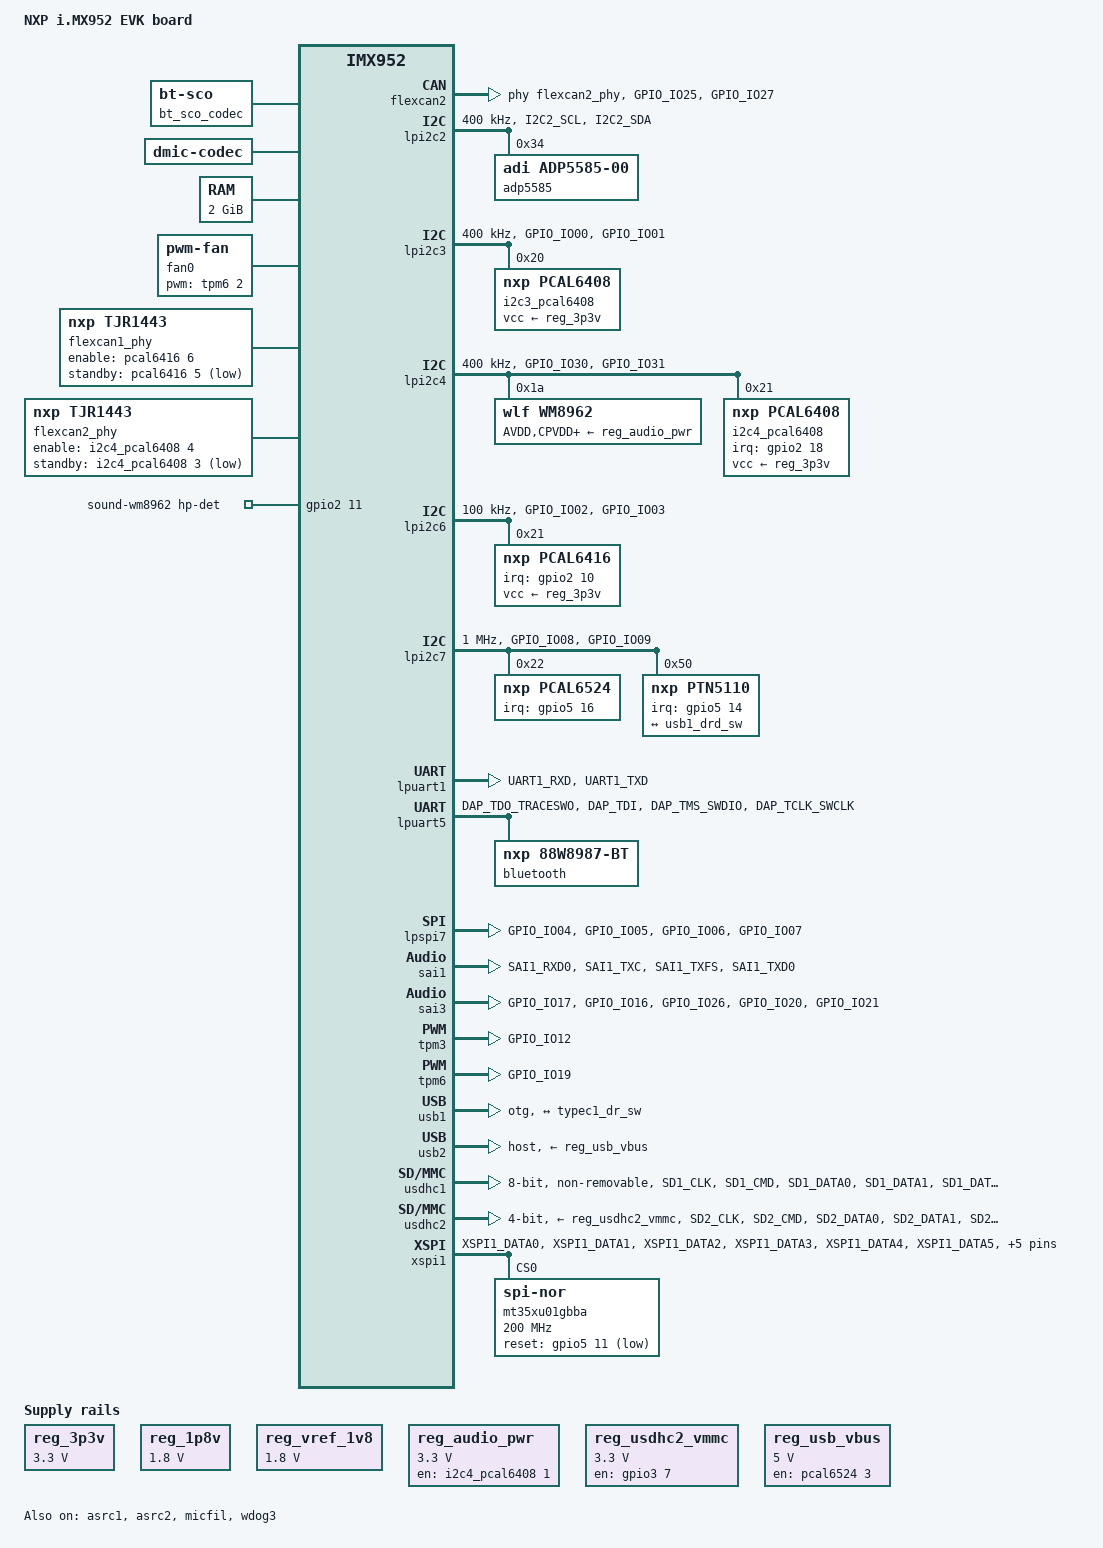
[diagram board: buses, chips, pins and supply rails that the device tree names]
// SPDX-License-Identifier: (GPL-2.0+ OR MIT)
/*
 * Copyright 2025-2026 NXP
 */

/dts-v1/;

#include <dt-bindings/pwm/pwm.h>
#include <dt-bindings/usb/pd.h>
#include "imx952.dtsi"

#define FALLING_EDGE		BIT(0)
#define RISING_EDGE		BIT(1)

#define BRD_SM_CTRL_SD3_WAKE		0x8000U /*!< PCAL6408A-0 */
#define BRD_SM_CTRL_M2E_WAKE		0x8001U /*!< PCAL6408A-4 */
#define BRD_SM_CTRL_BT_WAKE		0x8002U /*!< PCAL6408A-5 */
#define BRD_SM_CTRL_M2M_WAKE		0x8003U /*!< PCAL6408A-6 */
#define BRD_SM_CTRL_BUTTON		0x8004U /*!< PCAL6408A-7 */

/ {
	model = "NXP i.MX952 EVK board";
	compatible = "fsl,imx952-evk", "fsl,imx952";

	aliases {
		gpio0 = &gpio1;
		gpio1 = &gpio2;
		gpio2 = &gpio3;
		gpio3 = &gpio4;
		gpio4 = &gpio5;
		i2c0 = &lpi2c1;
		i2c1 = &lpi2c2;
		i2c2 = &lpi2c3;
		i2c3 = &lpi2c4;
		i2c4 = &lpi2c5;
		i2c5 = &lpi2c6;
		i2c6 = &lpi2c7;
		i2c7 = &lpi2c8;
		mmc0 = &usdhc1;
		mmc1 = &usdhc2;
		serial0 = &lpuart1;
		serial4 = &lpuart5;
		spi6 = &lpspi7;
	};

	bt_sco_codec: audio-codec-bt-sco {
		#sound-dai-cells = <1>;
		compatible = "linux,bt-sco";
	};

	chosen {
		stdout-path = &lpuart1;
	};

	dmic: dmic {
		compatible = "dmic-codec";
		#sound-dai-cells = <0>;
		num-channels = <2>;
	};

	memory@80000000 {
		device_type = "memory";
		reg = <0x0 0x80000000 0 0x80000000>;
	};

	fan0: pwm-fan {
		compatible = "pwm-fan";
		#cooling-cells = <2>;
		pwms = <&tpm6 2 4000000 PWM_POLARITY_INVERTED>;
		cooling-levels = <64 128 192 255>;
	};

	reserved-memory {
		#address-cells = <2>;
		#size-cells = <2>;
		ranges;

		linux_cma: linux,cma {
			compatible = "shared-dma-pool";
			alloc-ranges = <0 0x80000000 0 0x7f000000>;
			size = <0 0x3c000000>;
			linux,cma-default;
			reusable;
		};
	};

	flexcan1_phy: can-phy0 {
		compatible = "nxp,tjr1443";
		#phy-cells = <0>;
		max-bitrate = <8000000>;
		enable-gpios = <&pcal6416 6 GPIO_ACTIVE_HIGH>;
		standby-gpios = <&pcal6416 5 GPIO_ACTIVE_LOW>;
	};

	flexcan2_phy: can-phy1 {
		compatible = "nxp,tjr1443";
		#phy-cells = <0>;
		max-bitrate = <8000000>;
		enable-gpios = <&i2c4_pcal6408 4 GPIO_ACTIVE_HIGH>;
		standby-gpios = <&i2c4_pcal6408 3 GPIO_ACTIVE_LOW>;
	};

	reg_3p3v: regulator-3p3v {
		compatible = "regulator-fixed";
		regulator-max-microvolt = <3300000>;
		regulator-min-microvolt = <3300000>;
		regulator-name = "+V3.3_SW";
	};

	reg_1p8v: regulator-1p8v {
		compatible = "regulator-fixed";
		regulator-max-microvolt = <1800000>;
		regulator-min-microvolt = <1800000>;
		regulator-name = "+V1.8_SW";
	};

	reg_vref_1v8: regulator-adc-vref {
		compatible = "regulator-fixed";
		regulator-name = "vref_1v8";
		regulator-min-microvolt = <1800000>;
		regulator-max-microvolt = <1800000>;
	};

	reg_audio_pwr: regulator-audio-pwr {
		compatible = "regulator-fixed";
		regulator-name = "audio-pwr";
		regulator-max-microvolt = <3300000>;
		regulator-min-microvolt = <3300000>;
		gpio = <&i2c4_pcal6408 1 GPIO_ACTIVE_HIGH>;
		enable-active-high;
	};

	reg_usdhc2_vmmc: regulator-usdhc2 {
		compatible = "regulator-fixed";
		pinctrl-names = "default";
		pinctrl-0 = <&pinctrl_reg_usdhc2_vmmc>;
		regulator-name = "VDD_SD2_3V3";
		regulator-min-microvolt = <3300000>;
		regulator-max-microvolt = <3300000>;
		gpio = <&gpio3 7 GPIO_ACTIVE_HIGH>;
		enable-active-high;
		off-on-delay-us = <12000>;
	};

	reg_usb_vbus: regulator-vbus {
		compatible = "regulator-fixed";
		regulator-name = "USB_VBUS";
		regulator-min-microvolt = <5000000>;
		regulator-max-microvolt = <5000000>;
		gpio = <&pcal6524 3 GPIO_ACTIVE_HIGH>;
		enable-active-high;
	};

	sound-bt-sco {
		compatible = "simple-audio-card";
		simple-audio-card,bitclock-inversion;
		simple-audio-card,bitclock-master = <&btcpu>;
		simple-audio-card,format = "dsp_a";
		simple-audio-card,frame-master = <&btcpu>;
		simple-audio-card,name = "bt-sco-audio";

		simple-audio-card,codec {
			sound-dai = <&bt_sco_codec 1>;
		};

		btcpu: simple-audio-card,cpu {
			dai-tdm-slot-num = <2>;
			dai-tdm-slot-width = <16>;
			sound-dai = <&sai1>;
		};
	};

	sound-micfil {
		compatible = "fsl,imx-audio-card";
		model = "micfil-audio";

		pri-dai-link {
			format = "i2s";
			link-name = "micfil hifi";

			codec {
				sound-dai = <&dmic>;
			};

			cpu {
				sound-dai = <&micfil>;
			};
		};
	};

	sound-wm8962 {
		compatible = "fsl,imx-audio-wm8962";
		audio-asrc = <&asrc1>;
		audio-codec = <&wm8962>;
		audio-cpu = <&sai3>;
		audio-routing = "Headphone Jack", "HPOUTL",
				"Headphone Jack", "HPOUTR",
				"Ext Spk", "SPKOUTL",
				"Ext Spk", "SPKOUTR",
				"AMIC", "MICBIAS",
				"IN3R", "AMIC",
				"IN1R", "AMIC";
		hp-det-gpio = <&gpio2 11 GPIO_ACTIVE_HIGH>;
		model = "wm8962-audio";
		pinctrl-0 = <&pinctrl_hp>;
		pinctrl-names = "default";
	};
};

&asrc1 {
	assigned-clocks = <&scmi_clk IMX952_CLK_AUDIOPLL1_VCO>,
			  <&scmi_clk IMX952_CLK_AUDIOPLL2_VCO>,
			  <&scmi_clk IMX952_CLK_AUDIOPLL1>,
			  <&scmi_clk IMX952_CLK_AUDIOPLL2>,
			  <&scmi_clk IMX952_CLK_ASRC1>;
	assigned-clock-parents = <0>, <0>, <0>, <0>,
				 <&scmi_clk IMX952_CLK_AUDIOPLL1>;
	assigned-clock-rates = <3932160000>, <3612672000>,
			       <393216000>, <361267200>, <49152000>;
	fsl,asrc-rate  = <48000>;
	status = "okay";
};

&asrc2 {
	assigned-clocks = <&scmi_clk IMX952_CLK_AUDIOPLL1_VCO>,
			  <&scmi_clk IMX952_CLK_AUDIOPLL2_VCO>,
			  <&scmi_clk IMX952_CLK_AUDIOPLL1>,
			  <&scmi_clk IMX952_CLK_AUDIOPLL2>,
			  <&scmi_clk IMX952_CLK_ASRC2>;
	assigned-clock-parents = <0>, <0>, <0>, <0>,
				 <&scmi_clk IMX952_CLK_AUDIOPLL1>;
	assigned-clock-rates = <3932160000>, <3612672000>,
			       <393216000>, <361267200>, <49152000>;
	fsl,asrc-rate  = <48000>;
	status = "okay";
};

/* pin conflict with PDM */
&flexcan1 {
	pinctrl-names = "default";
	pinctrl-0 = <&pinctrl_flexcan1>;
	phys = <&flexcan1_phy>;
	status = "disabled";
};

&flexcan2 {
	pinctrl-names = "default";
	pinctrl-0 = <&pinctrl_flexcan2>;
	phys = <&flexcan2_phy>;
	status = "okay";
};

&lpi2c2 {
	clock-frequency = <400000>;
	pinctrl-names = "default";
	pinctrl-0 = <&pinctrl_lpi2c2>;
	status = "okay";

	adp5585: io-expander@34 {
		compatible = "adi,adp5585-00", "adi,adp5585";
		reg = <0x34>;
		gpio-controller;
		#gpio-cells = <2>;
		gpio-reserved-ranges = <5 1>;
		#pwm-cells = <3>;
	};
};

&lpi2c3 {
	clock-frequency = <400000>;
	pinctrl-names = "default";
	pinctrl-0 = <&pinctrl_lpi2c3>;
	status = "okay";

	i2c3_pcal6408: gpio@20 {
		compatible = "nxp,pcal6408";
		reg = <0x20>;
		#gpio-cells = <2>;
		gpio-controller;
		vcc-supply = <&reg_3p3v>;
	};
};

&lpi2c4 {
	clock-frequency = <400000>;
	pinctrl-names = "default";
	pinctrl-0 = <&pinctrl_lpi2c4>;
	status = "okay";

	wm8962: audio-codec@1a {
		compatible = "wlf,wm8962";
		reg = <0x1a>;
		clocks = <&scmi_clk IMX952_CLK_SAI3>;
		AVDD-supply = <&reg_audio_pwr>;
		CPVDD-supply = <&reg_audio_pwr>;
		DBVDD-supply = <&reg_audio_pwr>;
		DCVDD-supply = <&reg_audio_pwr>;
		gpio-cfg = < 0x0000 /* 0:Default */
			0x0000 /* 1:Default */
			0x0000 /* 2:FN_DMICCLK */
			0x0000 /* 3:Default */
			0x0000 /* 4:FN_DMICCDAT */
			0x0000 /* 5:Default */
			>;
		MICVDD-supply = <&reg_audio_pwr>;
		PLLVDD-supply = <&reg_audio_pwr>;
		SPKVDD1-supply = <&reg_audio_pwr>;
		SPKVDD2-supply = <&reg_audio_pwr>;
	};

	i2c4_pcal6408: gpio@21 {
		compatible = "nxp,pcal6408";
		reg = <0x21>;
		#gpio-cells = <2>;
		gpio-controller;
		interrupt-controller;
		#interrupt-cells = <2>;
		interrupt-parent = <&gpio2>;
		interrupts = <18 IRQ_TYPE_LEVEL_LOW>;
		pinctrl-names = "default";
		pinctrl-0 = <&pinctrl_i2c4_pcal6408>;
		vcc-supply = <&reg_3p3v>;
	};
};

&lpi2c6 {
	clock-frequency = <100000>;
	pinctrl-names = "default";
	pinctrl-0 = <&pinctrl_lpi2c6>;
	status = "okay";

	pcal6416: gpio@21 {
		compatible = "nxp,pcal6416";
		#gpio-cells = <2>;
		gpio-controller;
		reg = <0x21>;
		interrupt-controller;
		#interrupt-cells = <2>;
		interrupt-parent = <&gpio2>;
		interrupts = <10 IRQ_TYPE_LEVEL_LOW>;
		pinctrl-names = "default";
		pinctrl-0 = <&pinctrl_pcal6416>;
		vcc-supply = <&reg_3p3v>;

		pdm-can-sel-hog {
			gpio-hog;
			gpios = <10 GPIO_ACTIVE_HIGH>;
			output-low;
		};

		mqs-en-hog {
			gpio-hog;
			gpios = <15 GPIO_ACTIVE_HIGH>;
			output-low;
		};
	};
};

&lpi2c7 {
	clock-frequency = <1000000>;
	pinctrl-names = "default";
	pinctrl-0 = <&pinctrl_lpi2c7>;
	status = "okay";

	pcal6524: gpio@22 {
		compatible = "nxp,pcal6524";
		reg = <0x22>;
		pinctrl-names = "default";
		pinctrl-0 = <&pinctrl_pcal6524>;
		gpio-controller;
		#gpio-cells = <2>;
		interrupt-controller;
		#interrupt-cells = <2>;
		interrupt-parent = <&gpio5>;
		interrupts = <16 IRQ_TYPE_LEVEL_LOW>;
	};

	ptn5110: tcpc@50 {
		compatible = "nxp,ptn5110", "tcpci";
		reg = <0x50>;
		interrupt-parent = <&gpio5>;
		interrupts = <14 IRQ_TYPE_LEVEL_LOW>;
		pinctrl-names = "default";
		pinctrl-0 = <&pinctrl_ptn5110>;

		typec_con: connector {
			compatible = "usb-c-connector";
			label = "USB-C";
			power-role = "dual";
			data-role = "dual";
			try-power-role = "sink";
			source-pdos = <PDO_FIXED(5000, 3000, PDO_FIXED_USB_COMM)>;
			sink-pdos = <PDO_FIXED(5000, 0, PDO_FIXED_USB_COMM)>;
			op-sink-microwatt = <0>;
			self-powered;

			ports {
				#address-cells = <1>;
				#size-cells = <0>;

				port@0 {
					reg = <0>;

					typec1_dr_sw: endpoint {
						remote-endpoint = <&usb1_drd_sw>;
					};
				};
			};
		};
	};
};

&lpuart1 {
	/* console */
	pinctrl-names = "default";
	pinctrl-0 = <&pinctrl_uart1>;
	status = "okay";
};

&lpuart5 {
	/* BT */
	pinctrl-names = "default";
	pinctrl-0 = <&pinctrl_uart5>;
	status = "okay";

	bluetooth {
		compatible = "nxp,88w8987-bt";
	};
};

&lpspi7 {
	cs-gpios = <&gpio2 4 GPIO_ACTIVE_LOW>;
	pinctrl-names = "default";
	pinctrl-0 = <&pinctrl_lpspi7>;
	status = "okay";
};

&micfil {
	assigned-clocks = <&scmi_clk IMX952_CLK_AUDIOPLL1_VCO>,
			  <&scmi_clk IMX952_CLK_AUDIOPLL2_VCO>,
			  <&scmi_clk IMX952_CLK_AUDIOPLL1>,
			  <&scmi_clk IMX952_CLK_AUDIOPLL2>,
			  <&scmi_clk IMX952_CLK_PDM>;
	assigned-clock-parents = <0>, <0>, <0>, <0>,
				<&scmi_clk IMX952_CLK_AUDIOPLL1>;
	assigned-clock-rates = <3932160000>, <3612672000>,
			       <393216000>, <361267200>, <49152000>;
	pinctrl-0 = <&pinctrl_pdm>;
	pinctrl-1 = <&pinctrl_pdm_sleep>;
	pinctrl-names = "default", "sleep";
	status = "okay";
};

&sai1 {
	assigned-clocks = <&scmi_clk IMX952_CLK_AUDIOPLL1_VCO>,
			  <&scmi_clk IMX952_CLK_AUDIOPLL2_VCO>,
			  <&scmi_clk IMX952_CLK_AUDIOPLL1>,
			  <&scmi_clk IMX952_CLK_AUDIOPLL2>,
			  <&scmi_clk IMX952_CLK_SAI1>;
	assigned-clock-parents = <0>, <0>, <0>, <0>,
				 <&scmi_clk IMX952_CLK_AUDIOPLL1>;
	assigned-clock-rates = <3932160000>, <3612672000>,
			       <393216000>, <361267200>, <12288000>;
	pinctrl-0 = <&pinctrl_sai1>;
	pinctrl-1 = <&pinctrl_sai1_sleep>;
	pinctrl-names = "default", "sleep";
	fsl,sai-mclk-direction-output;
	status = "okay";
};

&sai3 {
	assigned-clocks = <&scmi_clk IMX952_CLK_AUDIOPLL1_VCO>,
			  <&scmi_clk IMX952_CLK_AUDIOPLL2_VCO>,
			  <&scmi_clk IMX952_CLK_AUDIOPLL1>,
			  <&scmi_clk IMX952_CLK_AUDIOPLL2>,
			  <&scmi_clk IMX952_CLK_SAI3>;
	assigned-clock-parents = <0>, <0>, <0>, <0>,
				 <&scmi_clk IMX952_CLK_AUDIOPLL1>;
	assigned-clock-rates = <3932160000>, <3612672000>,
			       <393216000>, <361267200>, <12288000>;
	pinctrl-0 = <&pinctrl_sai3>;
	pinctrl-1 = <&pinctrl_sai3_sleep>;
	pinctrl-names = "default", "sleep";
	fsl,sai-amix-mode = "bypass";
	fsl,sai-mclk-direction-output;
	status = "okay";
};

&scmi_misc {
	nxp,ctrl-ids = <BRD_SM_CTRL_SD3_WAKE		1
			BRD_SM_CTRL_M2E_WAKE		1
			BRD_SM_CTRL_BT_WAKE		1
			BRD_SM_CTRL_M2M_WAKE		1
			BRD_SM_CTRL_BUTTON		1>;
};

&tpm3 {
	pinctrl-names = "default";
	pinctrl-0 = <&pinctrl_tpm3>;
	status = "okay";
};

&tpm6 {
	pinctrl-names = "default";
	pinctrl-0 = <&pinctrl_tpm6>;
	status = "okay";
};

&usb1 {
	dr_mode = "otg";
	hnp-disable;
	srp-disable;
	adp-disable;
	usb-role-switch;
	disable-over-current;
	samsung,picophy-pre-emp-curr-control = <3>;
	samsung,picophy-dc-vol-level-adjust = <7>;
	status = "okay";

	port {
		usb1_drd_sw: endpoint {
			remote-endpoint = <&typec1_dr_sw>;
		};
	};
};

&usb2 {
	dr_mode = "host";
	disable-over-current;
	vbus-supply = <&reg_usb_vbus>;
	status = "okay";
};

&usdhc1 {
	pinctrl-names = "default", "state_100mhz", "state_200mhz", "sleep";
	pinctrl-0 = <&pinctrl_usdhc1>;
	pinctrl-1 = <&pinctrl_usdhc1_100mhz>;
	pinctrl-2 = <&pinctrl_usdhc1_200mhz>;
	pinctrl-3 = <&pinctrl_usdhc1>;
	bus-width = <8>;
	non-removable;
	no-sdio;
	no-sd;
	status = "okay";
};

&usdhc2 {
	pinctrl-names = "default", "state_100mhz", "state_200mhz", "sleep";
	pinctrl-0 = <&pinctrl_usdhc2>, <&pinctrl_usdhc2_gpio>;
	pinctrl-1 = <&pinctrl_usdhc2_100mhz>, <&pinctrl_usdhc2_gpio>;
	pinctrl-2 = <&pinctrl_usdhc2_200mhz>, <&pinctrl_usdhc2_gpio>;
	pinctrl-3 = <&pinctrl_usdhc2>, <&pinctrl_usdhc2_gpio>;
	cd-gpios = <&gpio3 0 GPIO_ACTIVE_LOW>;
	vmmc-supply = <&reg_usdhc2_vmmc>;
	bus-width = <4>;
	status = "okay";
};

&wdog3 {
	fsl,ext-reset-output;
	status = "okay";
};

&scmi_iomuxc {
	pinctrl_flexcan1: flexcan1grp {
		fsl,pins = <
			IMX952_PAD_PDM_CLK__AONMIX_TOP_CAN1_TX			0x39e
			IMX952_PAD_PDM_BIT_STREAM0__AONMIX_TOP_CAN1_RX		0x39e
		>;
	};

	pinctrl_flexcan2: flexcan2grp {
		fsl,pins = <
			IMX952_PAD_GPIO_IO25__WAKEUPMIX_TOP_CAN2_TX		0x39e
			IMX952_PAD_GPIO_IO27__WAKEUPMIX_TOP_CAN2_RX		0x39e
		>;
	};

	pinctrl_hp: hpgrp {
		fsl,pins = <
			IMX952_PAD_GPIO_IO11__WAKEUPMIX_TOP_GPIO2_IO_11		0x31e
		>;
	};

	pinctrl_lpi2c2: lpi2c2grp {
		fsl,pins = <
			IMX952_PAD_I2C2_SCL__AONMIX_TOP_LPI2C2_SCL		0x40000b9e
			IMX952_PAD_I2C2_SDA__AONMIX_TOP_LPI2C2_SDA		0x40000b9e
		>;
	};

	pinctrl_lpi2c3: lpi2c3grp {
		fsl,pins = <
			IMX952_PAD_GPIO_IO00__WAKEUPMIX_TOP_LPI2C3_SDA		0x40000b9e
			IMX952_PAD_GPIO_IO01__WAKEUPMIX_TOP_LPI2C3_SCL		0x40000b9e
		>;
	};

	pinctrl_lpi2c4: lpi2c4grp {
		fsl,pins = <
			IMX952_PAD_GPIO_IO30__WAKEUPMIX_TOP_LPI2C4_SDA		0x40000b9e
			IMX952_PAD_GPIO_IO31__WAKEUPMIX_TOP_LPI2C4_SCL		0x40000b9e
		>;
	};

	pinctrl_i2c4_pcal6408: i2c4pcal6408grp {
		fsl,pins = <
			IMX952_PAD_GPIO_IO18__WAKEUPMIX_TOP_GPIO2_IO_18		0x31e
		>;
	};

	pinctrl_lpi2c6: lpi2c6grp {
		fsl,pins = <
			IMX952_PAD_GPIO_IO02__WAKEUPMIX_TOP_LPI2C6_SDA		0x40000b9e
			IMX952_PAD_GPIO_IO03__WAKEUPMIX_TOP_LPI2C6_SCL		0x40000b9e
		>;
	};

	pinctrl_lpi2c7: lpi2c7grp {
		fsl,pins = <
			IMX952_PAD_GPIO_IO08__WAKEUPMIX_TOP_LPI2C7_SDA		0x40000b9e
			IMX952_PAD_GPIO_IO09__WAKEUPMIX_TOP_LPI2C7_SCL		0x40000b9e
		>;
	};

	pinctrl_lpspi7: lpspi7grp {
		fsl,pins = <
			IMX952_PAD_GPIO_IO04__WAKEUPMIX_TOP_GPIO2_IO_4		0x39e
			IMX952_PAD_GPIO_IO05__WAKEUPMIX_TOP_LPSPI7_SIN		0x39e
			IMX952_PAD_GPIO_IO06__WAKEUPMIX_TOP_LPSPI7_SOUT		0x39e
			IMX952_PAD_GPIO_IO07__WAKEUPMIX_TOP_LPSPI7_SCK		0x39e
		>;
	};

	pinctrl_pcal6416: pcal6416grp {
		fsl,pins = <
			IMX952_PAD_GPIO_IO10__WAKEUPMIX_TOP_GPIO2_IO_10		0x31e
		>;
	};

	pinctrl_pcal6524: pcal6524grp {
		fsl,pins = <
			IMX952_PAD_GPIO_IO36__WAKEUPMIX_TOP_GPIO5_IO_16		0x31e
		>;
	};

	pinctrl_pdm: pdmgrp {
		fsl,pins = <
			IMX952_PAD_PDM_CLK__AONMIX_TOP_PDM_CLK				0x31e
			IMX952_PAD_PDM_BIT_STREAM0__AONMIX_TOP_PDM_BIT_STREAM_0		0x31e
		>;
	};

	pinctrl_pdm_sleep: pdmsleepgrp {
		fsl,pins = <
			IMX952_PAD_PDM_CLK__AONMIX_TOP_GPIO1_IO_8		0x31e
			IMX952_PAD_PDM_BIT_STREAM0__AONMIX_TOP_GPIO1_IO_9	0x31e
		>;
	};

	pinctrl_ptn5110: ptn5110grp {
		fsl,pins = <
			IMX952_PAD_GPIO_IO34__WAKEUPMIX_TOP_GPIO5_IO_14		     0x31e
		>;
	};

	pinctrl_reg_usdhc2_vmmc: regusdhc2vmmcgrp {
		fsl,pins = <
			IMX952_PAD_SD2_RESET_B__WAKEUPMIX_TOP_GPIO3_IO_7	0x31e
		>;
	};

	pinctrl_sai1: sai1grp {
		fsl,pins = <
			IMX952_PAD_SAI1_RXD0__AONMIX_TOP_SAI1_RX_DATA_0		0x31e
			IMX952_PAD_SAI1_TXC__AONMIX_TOP_SAI1_TX_BCLK		0x31e
			IMX952_PAD_SAI1_TXFS__AONMIX_TOP_SAI1_TX_SYNC		0x31e
			IMX952_PAD_SAI1_TXD0__AONMIX_TOP_SAI1_TX_DATA_0		0x31e
		>;
	};

	pinctrl_sai1_sleep: sai1sleepgrp {
		fsl,pins = <
			IMX952_PAD_SAI1_RXD0__AONMIX_TOP_GPIO1_IO_14		0x51e
			IMX952_PAD_SAI1_TXC__AONMIX_TOP_GPIO1_IO_12		0x51e
			IMX952_PAD_SAI1_TXFS__AONMIX_TOP_GPIO1_IO_11		0x51e
			IMX952_PAD_SAI1_TXD0__AONMIX_TOP_GPIO1_IO_13		0x51e
		>;
	};

	pinctrl_sai3: sai3grp {
		fsl,pins = <
			IMX952_PAD_GPIO_IO17__WAKEUPMIX_TOP_SAI3_MCLK			0x31e
			IMX952_PAD_GPIO_IO16__WAKEUPMIX_TOP_AUDMIX_TDM_OUT_TXBCLK	0x31e
			IMX952_PAD_GPIO_IO26__WAKEUPMIX_TOP_AUDMIX_TDM_OUT_TXSYNC	0x31e
			IMX952_PAD_GPIO_IO20__WAKEUPMIX_TOP_SAI3_RX_DATA_0		0x31e
			IMX952_PAD_GPIO_IO21__WAKEUPMIX_TOP_AUDMIX_TDM_OUT_TXDATA	0x31e
		>;
	};

	pinctrl_sai3_sleep: sai3sleepgrp {
		fsl,pins = <
			IMX952_PAD_GPIO_IO17__WAKEUPMIX_TOP_GPIO2_IO_17		0x31e
			IMX952_PAD_GPIO_IO16__WAKEUPMIX_TOP_GPIO2_IO_16		0x31e
			IMX952_PAD_GPIO_IO26__WAKEUPMIX_TOP_GPIO2_IO_26		0x31e
			IMX952_PAD_GPIO_IO20__WAKEUPMIX_TOP_GPIO2_IO_20		0x31e
			IMX952_PAD_GPIO_IO21__WAKEUPMIX_TOP_GPIO2_IO_21		0x31e
		>;
	};

	pinctrl_tpm3: tpm3grp {
		fsl,pins = <
			IMX952_PAD_GPIO_IO12__WAKEUPMIX_TOP_TPM3_CH2		0x51e
		>;
	};

	pinctrl_tpm6: tpm6grp {
		fsl,pins = <
			IMX952_PAD_GPIO_IO19__WAKEUPMIX_TOP_TPM6_CH2		0x51e
		>;
	};

	pinctrl_uart1: uart1grp {
		fsl,pins = <
			IMX952_PAD_UART1_RXD__AONMIX_TOP_LPUART1_RX		0x31e
			IMX952_PAD_UART1_TXD__AONMIX_TOP_LPUART1_TX		0x31e
		>;
	};

	pinctrl_uart5: uart5grp {
		fsl,pins = <
			IMX952_PAD_DAP_TDO_TRACESWO__WAKEUPMIX_TOP_LPUART5_TX	0x31e
			IMX952_PAD_DAP_TDI__WAKEUPMIX_TOP_LPUART5_RX		0x31e
			IMX952_PAD_DAP_TMS_SWDIO__WAKEUPMIX_TOP_LPUART5_RTS_B	0x31e
			IMX952_PAD_DAP_TCLK_SWCLK__WAKEUPMIX_TOP_LPUART5_CTS_B	0x31e
		>;
	};

	pinctrl_usdhc1: usdhc1grp {
		fsl,pins = <
			IMX952_PAD_SD1_CLK__WAKEUPMIX_TOP_USDHC1_CLK		0x158e
			IMX952_PAD_SD1_CMD__WAKEUPMIX_TOP_USDHC1_CMD		0x138e
			IMX952_PAD_SD1_DATA0__WAKEUPMIX_TOP_USDHC1_DATA0	0x138e
			IMX952_PAD_SD1_DATA1__WAKEUPMIX_TOP_USDHC1_DATA1	0x138e
			IMX952_PAD_SD1_DATA2__WAKEUPMIX_TOP_USDHC1_DATA2	0x138e
			IMX952_PAD_SD1_DATA3__WAKEUPMIX_TOP_USDHC1_DATA3	0x138e
			IMX952_PAD_SD1_DATA4__WAKEUPMIX_TOP_USDHC1_DATA4	0x138e
			IMX952_PAD_SD1_DATA5__WAKEUPMIX_TOP_USDHC1_DATA5	0x138e
			IMX952_PAD_SD1_DATA6__WAKEUPMIX_TOP_USDHC1_DATA6	0x138e
			IMX952_PAD_SD1_DATA7__WAKEUPMIX_TOP_USDHC1_DATA7	0x138e
			IMX952_PAD_SD1_STROBE__WAKEUPMIX_TOP_USDHC1_STROBE	0x158e
		>;
	};

	pinctrl_usdhc1_100mhz: usdhc1-100mhzgrp {
		fsl,pins = <
			IMX952_PAD_SD1_CLK__WAKEUPMIX_TOP_USDHC1_CLK		0x158e
			IMX952_PAD_SD1_CMD__WAKEUPMIX_TOP_USDHC1_CMD		0x138e
			IMX952_PAD_SD1_DATA0__WAKEUPMIX_TOP_USDHC1_DATA0	0x138e
			IMX952_PAD_SD1_DATA1__WAKEUPMIX_TOP_USDHC1_DATA1	0x138e
			IMX952_PAD_SD1_DATA2__WAKEUPMIX_TOP_USDHC1_DATA2	0x138e
			IMX952_PAD_SD1_DATA3__WAKEUPMIX_TOP_USDHC1_DATA3	0x138e
			IMX952_PAD_SD1_DATA4__WAKEUPMIX_TOP_USDHC1_DATA4	0x138e
			IMX952_PAD_SD1_DATA5__WAKEUPMIX_TOP_USDHC1_DATA5	0x138e
			IMX952_PAD_SD1_DATA6__WAKEUPMIX_TOP_USDHC1_DATA6	0x138e
			IMX952_PAD_SD1_DATA7__WAKEUPMIX_TOP_USDHC1_DATA7	0x138e
			IMX952_PAD_SD1_STROBE__WAKEUPMIX_TOP_USDHC1_STROBE	0x158e
		>;
	};

	pinctrl_usdhc1_200mhz: usdhc1-200mhzgrp {
		fsl,pins = <
			IMX952_PAD_SD1_CLK__WAKEUPMIX_TOP_USDHC1_CLK		0x159e
			IMX952_PAD_SD1_CMD__WAKEUPMIX_TOP_USDHC1_CMD		0x139e
			IMX952_PAD_SD1_DATA0__WAKEUPMIX_TOP_USDHC1_DATA0	0x139e
			IMX952_PAD_SD1_DATA1__WAKEUPMIX_TOP_USDHC1_DATA1	0x139e
			IMX952_PAD_SD1_DATA2__WAKEUPMIX_TOP_USDHC1_DATA2	0x139e
			IMX952_PAD_SD1_DATA3__WAKEUPMIX_TOP_USDHC1_DATA3	0x139e
			IMX952_PAD_SD1_DATA4__WAKEUPMIX_TOP_USDHC1_DATA4	0x139e
			IMX952_PAD_SD1_DATA5__WAKEUPMIX_TOP_USDHC1_DATA5	0x139e
			IMX952_PAD_SD1_DATA6__WAKEUPMIX_TOP_USDHC1_DATA6	0x139e
			IMX952_PAD_SD1_DATA7__WAKEUPMIX_TOP_USDHC1_DATA7	0x139e
			IMX952_PAD_SD1_STROBE__WAKEUPMIX_TOP_USDHC1_STROBE	0x159e
		>;
	};

	pinctrl_usdhc2: usdhc2grp {
		fsl,pins = <
			IMX952_PAD_SD2_CLK__WAKEUPMIX_TOP_USDHC2_CLK		0x158e
			IMX952_PAD_SD2_CMD__WAKEUPMIX_TOP_USDHC2_CMD		0x138e
			IMX952_PAD_SD2_DATA0__WAKEUPMIX_TOP_USDHC2_DATA0	0x138e
			IMX952_PAD_SD2_DATA1__WAKEUPMIX_TOP_USDHC2_DATA1	0x138e
			IMX952_PAD_SD2_DATA2__WAKEUPMIX_TOP_USDHC2_DATA2	0x138e
			IMX952_PAD_SD2_DATA3__WAKEUPMIX_TOP_USDHC2_DATA3	0x138e
			IMX952_PAD_SD2_VSELECT__WAKEUPMIX_TOP_USDHC2_VSELECT	0x51e
		>;
	};

	pinctrl_usdhc2_100mhz: usdhc2-100mhzgrp {
		fsl,pins = <
			IMX952_PAD_SD2_CLK__WAKEUPMIX_TOP_USDHC2_CLK		0x158e
			IMX952_PAD_SD2_CMD__WAKEUPMIX_TOP_USDHC2_CMD		0x138e
			IMX952_PAD_SD2_DATA0__WAKEUPMIX_TOP_USDHC2_DATA0	0x138e
			IMX952_PAD_SD2_DATA1__WAKEUPMIX_TOP_USDHC2_DATA1	0x138e
			IMX952_PAD_SD2_DATA2__WAKEUPMIX_TOP_USDHC2_DATA2	0x138e
			IMX952_PAD_SD2_DATA3__WAKEUPMIX_TOP_USDHC2_DATA3	0x138e
			IMX952_PAD_SD2_VSELECT__WAKEUPMIX_TOP_USDHC2_VSELECT	0x51e
		>;
	};

	pinctrl_usdhc2_200mhz: usdhc2-200mhzgrp {
		fsl,pins = <
			IMX952_PAD_SD2_CLK__WAKEUPMIX_TOP_USDHC2_CLK		0x158e
			IMX952_PAD_SD2_CMD__WAKEUPMIX_TOP_USDHC2_CMD		0x138e
			IMX952_PAD_SD2_DATA0__WAKEUPMIX_TOP_USDHC2_DATA0	0x138e
			IMX952_PAD_SD2_DATA1__WAKEUPMIX_TOP_USDHC2_DATA1	0x138e
			IMX952_PAD_SD2_DATA2__WAKEUPMIX_TOP_USDHC2_DATA2	0x138e
			IMX952_PAD_SD2_DATA3__WAKEUPMIX_TOP_USDHC2_DATA3	0x138e
			IMX952_PAD_SD2_VSELECT__WAKEUPMIX_TOP_USDHC2_VSELECT	0x51e
		>;
	};

	pinctrl_usdhc2_gpio: usdhc2gpiogrp {
		fsl,pins = <
			IMX952_PAD_SD2_CD_B__WAKEUPMIX_TOP_GPIO3_IO_0		0x31e
		>;
	};

	pinctrl_xspi1: xspi1grp {
		fsl,pins = <
			IMX952_PAD_XSPI1_DATA0__WAKEUPMIX_TOP_XSPI1_A_DATA_0		0x39e
			IMX952_PAD_XSPI1_DATA1__WAKEUPMIX_TOP_XSPI1_A_DATA_1		0x39e
			IMX952_PAD_XSPI1_DATA2__WAKEUPMIX_TOP_XSPI1_A_DATA_2		0x39e
			IMX952_PAD_XSPI1_DATA3__WAKEUPMIX_TOP_XSPI1_A_DATA_3		0x39e
			IMX952_PAD_XSPI1_DATA4__WAKEUPMIX_TOP_XSPI1_A_DATA_4		0x39e
			IMX952_PAD_XSPI1_DATA5__WAKEUPMIX_TOP_XSPI1_A_DATA_5		0x39e
			IMX952_PAD_XSPI1_DATA6__WAKEUPMIX_TOP_XSPI1_A_DATA_6		0x39e
			IMX952_PAD_XSPI1_DATA7__WAKEUPMIX_TOP_XSPI1_A_DATA_7		0x39e
			IMX952_PAD_XSPI1_DQS__WAKEUPMIX_TOP_XSPI1_A_DQS			0x39e
			IMX952_PAD_XSPI1_SCLK__WAKEUPMIX_TOP_XSPI1_A_SCLK		0x39e
			IMX952_PAD_XSPI1_SS0_B__WAKEUPMIX_TOP_XSPI1_A_SS0_B		0x39e
		>;
	};

	pinctrl_xspi1_reset: xspi1-reset-grp {
		fsl,pins = <
			IMX952_PAD_XSPI1_SS1_B__WAKEUPMIX_TOP_GPIO5_IO_11	0x39e
		>;
	};
};

&xspi1 {
	pinctrl-names = "default";
	pinctrl-0 = <&pinctrl_xspi1>;
	status = "okay";

	mt35xu01gbba: flash@0 {
		compatible = "jedec,spi-nor";
		reg = <0>;
		pinctrl-names = "default";
		pinctrl-0 = <&pinctrl_xspi1_reset>;
		reset-gpios = <&gpio5 11 GPIO_ACTIVE_LOW>;
		#address-cells = <1>;
		#size-cells = <1>;
		spi-max-frequency = <200000000>;
		spi-tx-bus-width = <8>;
		spi-rx-bus-width = <8>;
	};
};
